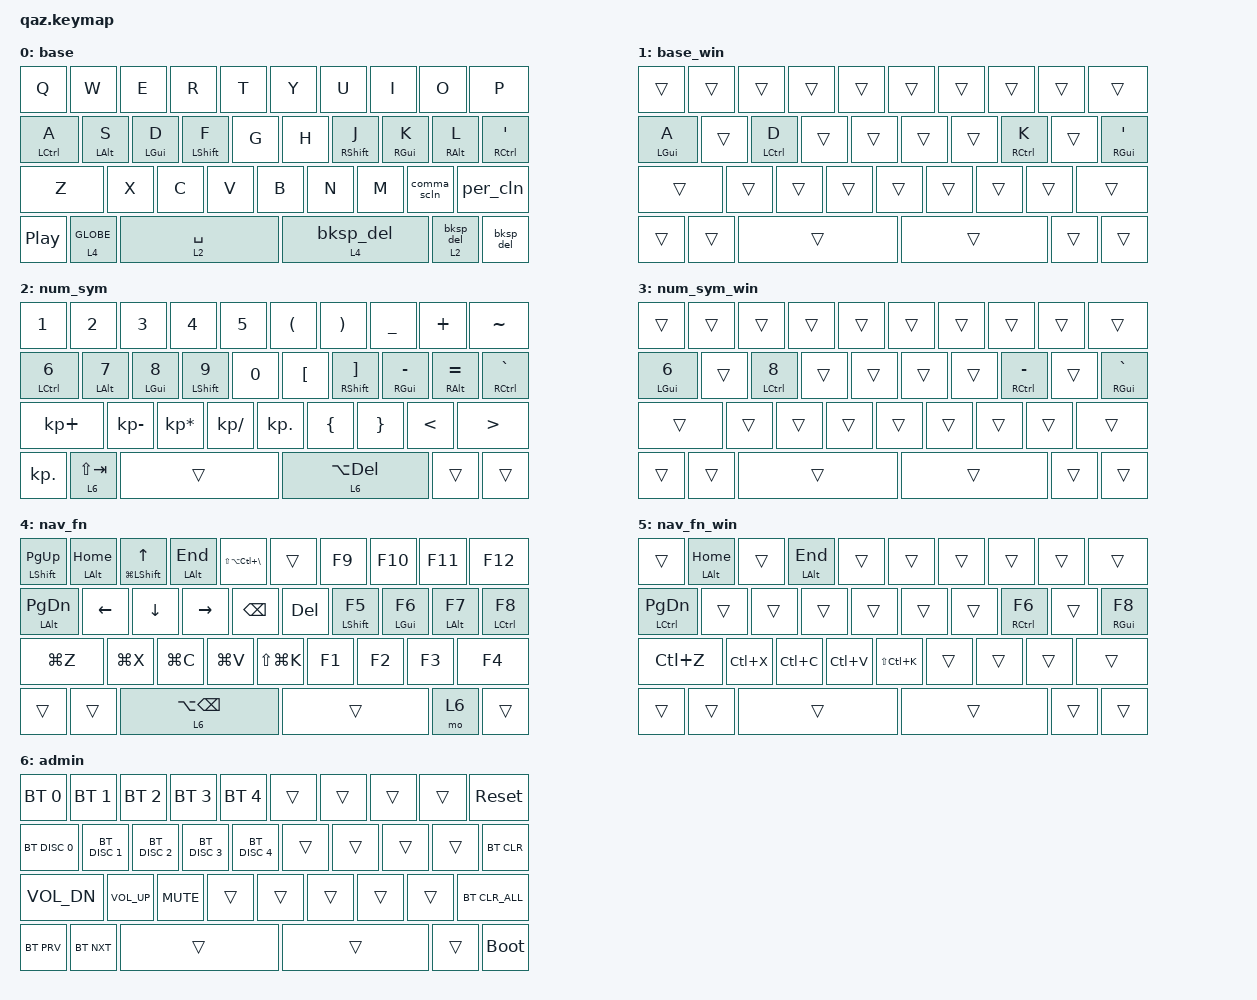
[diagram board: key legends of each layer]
/*
 * Copyright (c) 2020 The ZMK Contributors
 *
 * SPDX-License-Identifier: MIT
 */

#include <behaviors.dtsi>
#include <dt-bindings/zmk/bt.h>
#include <dt-bindings/zmk/keys.h>

#define DEFAULT 0
#define NUM_SYM 1
#define NAV     2

&soft_off { hold-time-ms = <0>; };

&lt {
    tapping-term-ms = <250>;
    quick-tap-ms = <250>;
};

/ {
    chosen {
        zmk,kscan = &kscan0;
        zmk,physical-layout = &split_big_bar_layout;
        /delete-property/ zmk,matrix-transform;
    };

    behaviors {
        hm: homerow_mods {
            compatible = "zmk,behavior-hold-tap";
            #binding-cells = <2>;
            tapping-term-ms = <300>;
            flavor = "tap-preferred";
            bindings = <&kp>, <&kp>;
    
            require-prior-idle-ms = <250>;
            quick-tap-ms = <250>;
        };
    
        hs: homerow_shift {
            compatible = "zmk,behavior-hold-tap";
            bindings = <&kp>, <&kp>;
    
            #binding-cells = <2>;
            tapping-term-ms = <250>;
            quick-tap-ms = <250>;
            flavor = "balanced";
        };
    
        td: tap_dance {
            compatible = "zmk,behavior-tap-dance";
            #binding-cells = <0>;
            bindings = <&none>, <&none>, <&none>, <&none>;
        };
    
        bksp_del: bksp_del {
            compatible = "zmk,behavior-mod-morph";
            bindings = <&kp BACKSPACE>, <&kp DELETE>;
    
            #binding-cells = <0>;
            mods = <(MOD_LSFT)>;
        };
    
        bdlt: bksp_del_layer_tap {
            compatible = "zmk,behavior-hold-tap";
            bindings = <&mo>, <&bksp_del>;
    
            #binding-cells = <2>;
            tapping-term-ms = <200>;
            flavor = "balanced";
            quick-tap-ms = <200>;
        };
    
        comma_scln: comma_semicolon {
            compatible = "zmk,behavior-mod-morph";
            bindings = <&kp COMMA>, <&kp SEMICOLON>;
    
            #binding-cells = <0>;
            mods = <(MOD_LSFT|MOD_RSFT)>;
        };
    
        per_cln: period_colon {
            compatible = "zmk,behavior-mod-morph";

            bindings = <&kp PERIOD>, <&kp COLON>;
    
            #binding-cells = <0>;
            mods = <(MOD_LSFT|MOD_RSFT)>;
        };
    };

    combos {
        compatible = "zmk,combos";
    
        left_enter {
            bindings = <&kp ENTER>;
            key-positions = <1 12 22>;
        };
    
        right_enter {
            bindings = <&kp ENTER>;
            key-positions = <8 17 26>;
        };
    
        esc {
            bindings = <&kp ESCAPE>;
            key-positions = <0 1>;
        };
    
        tab {
            bindings = <&kp TAB>;
            key-positions = <3 14>;
        };
    
        shift_tab {
            bindings = <&kp LS(TAB)>;
            key-positions = <2 13>;
        };
    
        hold_space {
            bindings = <&kp SPACE>;
            key-positions = <23 31>;
        };
    
        caps_word {
            bindings = <&caps_word>;
            key-positions = <14 15>;
        };
    
        toggle_nav {
            bindings = <&tog 2>;
            key-positions = <11 2 13>;
            layers = <0 2>;
            require-prior-idle-ms = <350>;
        };
    
        jsdoc {
            bindings = <&js_doc>;
            key-positions = <28 27 26>;
        };
    
        caps_lock {
            bindings = <&kp CAPSLOCK>;
            key-positions = <13 12 16 17>;
        };
    
        screen_shot {
            bindings = <&kp LS(LG(N5))>;
            key-positions = <0 11>;
        };
    
        soft_off {
            bindings = <&soft_off>;
            key-positions = <0 32 9 31>;
        };
    
        bootloader {
            bindings = <&bootloader>;
            key-positions = <4 14 5 15>;
        };
    
        bt_clear_all {
            bindings = <&bt BT_CLR_ALL>;
            key-positions = <20 21 28 27>;
        };
    
        reset {
            bindings = <&sys_reset>;
            key-positions = <30 31 32 33 35>;
        };
    
        globe {
            bindings = <&kp GLOBE>;
            key-positions = <4 5>;
        };
    
        toggle_win {
            bindings = <&tog 1>;
            key-positions = <0 9>;
        };
    
        screenshot_win {
            bindings = <&kp LS(LG(S))>;
            key-positions = <0 11>;
            layers = <1>;
        };
    
        force_quit_mac {
            bindings = <&kp LA(LG(ESCAPE))>;
            key-positions = <0 1 2>;
        };
    
        slash_question {
            bindings = <&kp SLASH>;
            key-positions = <28 27>;
        };
    
        backslash_pipe {
            bindings = <&kp BSLH>;
            key-positions = <28 27>;
            layers = <2>;
        };
    
        studio_unlock {
            bindings = <&studio_unlock>;
            key-positions = <10 11 18 19>;
        };
    };

    macros {
        js_doc: js_doc {
            compatible = "zmk,behavior-macro";
            #binding-cells = <0>;
            bindings = <&kp FSLH &kp STAR &kp STAR &kp SPACE>;
        };
    };

    keymap {
        compatible = "zmk,keymap";
    
        base {
            bindings = <
    &kp Q             &kp W        &kp E        &kp R        &kp T  &kp Y      &kp U        &kp I        &kp O       &kp P
    &hm LCTRL A       &hm LALT S   &hm LGUI D   &hs LSHFT F  &kp G  &kp H      &hs RSHFT J  &hm RGUI K   &hm RALT L  &hm RCTRL SQT
    &kp Z             &kp X        &kp C        &kp V        &kp B  &kp N      &kp M        &comma_scln  &per_cln
    &kp C_PLAY_PAUSE  &lt 4 GLOBE  &lt 2 SPACE                      &bdlt 4 0  &bdlt 2 0    &bksp_del
            >;
        };
    
        base_win {
            bindings = <
    &trans      &trans  &trans       &trans  &trans  &trans  &trans  &trans       &trans  &trans
    &hm LGUI A  &trans  &hm LCTRL D  &trans  &trans  &trans  &trans  &hm RCTRL K  &trans  &hm RGUI SQT
    &trans      &trans  &trans       &trans  &trans  &trans  &trans  &trans       &trans
    &trans      &trans  &trans                       &trans  &trans  &trans
            >;
        };
    
        num_sym {
            bindings = <
    &kp N1              &kp N2         &kp N3           &kp N4         &kp N5      &kp LEFT_PARENTHESIS  &kp RIGHT_PARENTHESIS     &kp UNDER       &kp PLUS          &kp TILDE
    &hm LCTRL NUMBER_6  &hm LALT N7    &hm LGUI N8      &hs LSHFT N9   &kp N0      &kp LEFT_BRACKET      &hs RSHIFT RIGHT_BRACKET  &hm RGUI MINUS  &hm RALT EQUAL    &hm RCTRL GRAVE
    &kp KP_PLUS         &kp KP_MINUS   &kp KP_MULTIPLY  &kp KP_DIVIDE  &kp KP_DOT  &kp LEFT_BRACE        &kp RIGHT_BRACE           &kp LESS_THAN   &kp GREATER_THAN
    &kp KP_DOT          &lt 6 LS(TAB)  &trans                                      &lt 6 LA(DEL)         &trans                    &trans
            >;
        };
    
        num_sym_win {
            bindings = <
    &trans             &trans  &trans        &trans  &trans  &trans  &trans  &trans           &trans  &trans
    &hm LGUI NUMBER_6  &trans  &hm LCTRL N8  &trans  &trans  &trans  &trans  &hm RCTRL MINUS  &trans  &hm RGUI GRAVE
    &trans             &trans  &trans        &trans  &trans  &trans  &trans  &trans           &trans
    &trans             &trans  &trans                        &trans  &trans  &trans
            >;
        };
    
        nav_fn {
            bindings = <
    &mt LEFT_SHIFT PG_UP  &mt LEFT_ALT HOME  &mt LG(LEFT_SHIFT) UP_ARROW  &mt LEFT_ALT END  &kp LS(LA(LC(BACKSLASH)))  &trans      &kp F9        &kp F10          &kp F11          &kp F12
    &mt LALT PAGE_DOWN    &kp LEFT_ARROW     &kp DOWN                     &kp RIGHT         &kp BACKSPACE              &kp DELETE  &hs LSHFT F5  &hm LEFT_GUI F6  &hm LEFT_ALT F7  &hm LCTRL F8
    &kp LG(Z)             &kp LG(X)          &kp LG(C)                    &kp LG(V)         &kp LS(LG(K))              &kp F1      &kp F2        &kp F3           &kp F4
    &trans                &trans             &lt 6 LA(BACKSPACE)                                                       &trans      &mo 6         &trans
            >;
        };
    
        nav_fn_win {
            bindings = <
    &trans               &mt LALT HOME  &trans     &mt LALT END  &trans         &trans  &trans  &trans        &trans  &trans
    &hm LCTRL PAGE_DOWN  &trans         &trans     &trans        &trans         &trans  &trans  &hm RCTRL F6  &trans  &hm RGUI F8
    &kp LC(Z)            &kp LC(X)      &kp LC(C)  &kp LC(V)     &kp LS(LC(K))  &trans  &trans  &trans        &trans
    &trans               &trans         &trans                                  &trans  &trans  &trans
            >;
        };
    
        admin {
            bindings = <
    &bt BT_SEL 0   &bt BT_SEL 1     &bt BT_SEL 2   &bt BT_SEL 3   &bt BT_SEL 4   &trans  &trans  &trans       &trans          &sys_reset
    &bt BT_DISC 0  &bt BT_DISC 1    &bt BT_DISC 2  &bt BT_DISC 3  &bt BT_DISC 4  &trans  &trans  &trans       &trans          &bt BT_CLR
    &kp C_VOL_DN   &kp C_VOLUME_UP  &kp K_MUTE     &trans         &trans         &trans  &trans  &trans       &bt BT_CLR_ALL
    &bt BT_PRV     &bt BT_NXT       &trans                                       &trans  &trans  &bootloader
            >;
        };
    };

    conditional_layers {
        compatible = "zmk,conditional-layers";
    
        num_sym_win {
            if-layers = <1 2>;
            then-layer = <3>;
        };
    
        nav_func_win {
            if-layers = <1 4>;
            then-layer = <5>;
        };
    };
};
